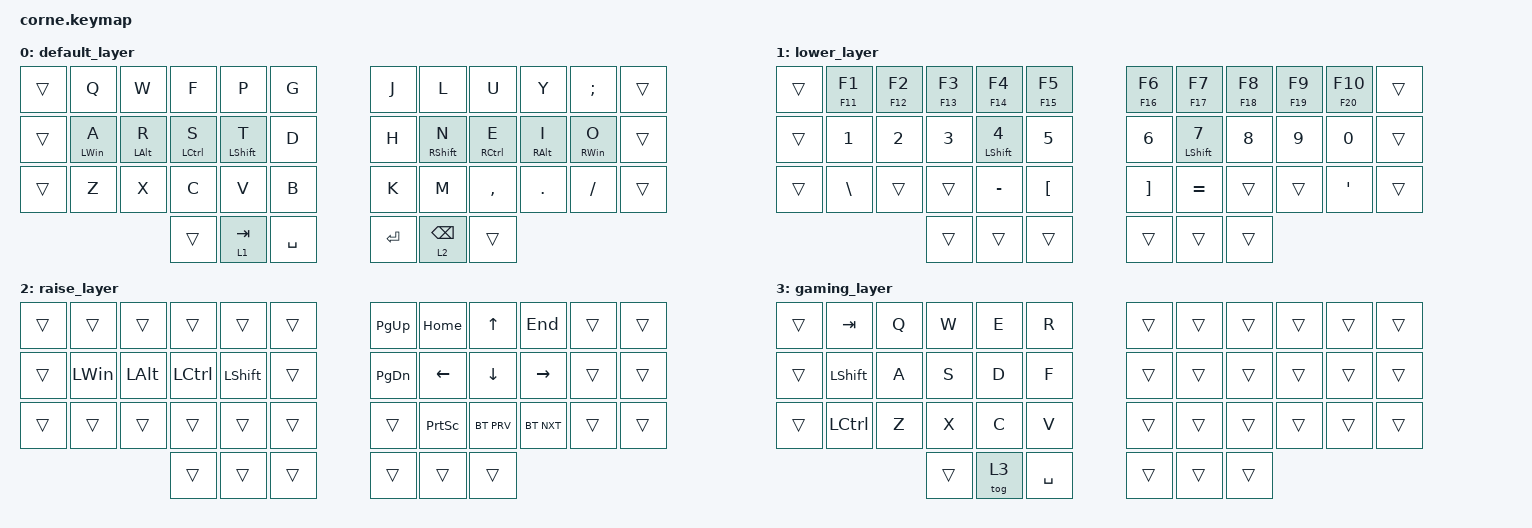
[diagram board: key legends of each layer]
/*
 * Copyright (c) 2020 The ZMK Contributors
 *
 * SPDX-License-Identifier: MIT
 */

#include <behaviors.dtsi>
#include <dt-bindings/zmk/keys.h>
#include <dt-bindings/zmk/bt.h>

#define DEFAULT 0
#define LOWER   1
#define RAISE   2
#define GAMING  3

/ {

        behaviors {
                hml: home_row_mod_left {
                        compatible = "zmk,behavior-hold-tap";
                        #binding-cells = <2>;
                        flavor = "balanced";
                        require-prior-idle-ms = <150>;
                        tapping-term-ms = <250>;
                        quick-tap-ms = <175>;
                        bindings = <&kp>, <&kp>;
                        hold-trigger-key-positions = <6 7 8 9 10 11 18 19 20 21 22 23 30 31 32 33 34 35 36 37 38 39 40 41>; // List of keys on the right side of the keyboard + all thumb keys
                        hold-trigger-on-release;
                };
                hmr: home_row_mod_right {
                        compatible = "zmk,behavior-hold-tap";
                        #binding-cells = <2>;
                        flavor = "balanced";
                        require-prior-idle-ms = <150>;
                        tapping-term-ms = <250>;
                        quick-tap-ms = <175>;
                        bindings = <&kp>, <&kp>;
                        hold-trigger-key-positions = <0 1 2 3 4 5 12 13 14 15 16 17 24 25 26 27 28 29 36 37 38 39 40 41>; // List of keys on the left side of the keyboard + all thumb keys
                        hold-trigger-on-release;
                };
        };

        combos {
                #include "combos.dtsi"
        };

        keymap {
                compatible = "zmk,keymap";

                default_layer {
                        bindings = <
// ╭──────┬───────────┬───────────┬────────────┬────────────┬─────────╮   ╭───────┬────────────┬────────────┬───────────┬────────────┬──────╮
// |      |     Q     |     W     |     F      |     P      |    G    |   |   J   |     L      |     U      |     Y     |     ;      |      |
    &trans    &kp Q       &kp W       &kp F        &kp P       &kp G        &kp J     &kp L        &kp U        &kp Y      &kp SEMI   &trans 
// ├──────┼───────────┼───────────┼────────────┼────────────┤─────────┤   ├───────┼────────────┼────────────┼───────────┼────────────┤──────┤
// |      |     A     |     R     |     S      |     T      |    D    |   |   H   |     N      |     E      |     I     |     O      |      |
    &trans &hml LWIN A &hml LALT R &hml LCTRL S &hml LSHFT T   &kp D        &kp H  &hmr RSHFT N &hmr RCTRL E &hmr RALT I &hmr RWIN O  &trans
// ├──────┼───────────┼───────────┼────────────┼────────────┤─────────┤   ├───────┼────────────┼────────────┼───────────┼────────────┤──────┤
// |      |     Z     |     X     |     C      |     V      |    B    |   |   K   |     M      |     ,      |     .     |     /      |      |
    &trans    &kp Z       &kp X       &kp C        &kp V       &kp B        &kp K     &kp M      &kp COMMA     &kp DOT     &kp FSLH   &trans
// ╰──────┴───────────┴───────────┼────────────┼────────────┤─────────┤   ├───────┼────────────┼────────────┼───────────┴────────────┴──────╯
//                                |            |    TAB     |   SPC   |   |  ENT  |    BSPC    |            |
                                      &trans     &lt 1 TAB   &kp SPACE     &kp RET  &lt 2 BSPC     &trans
//                                ╰────────────┴────────────┴─────────╯   ╰───────┴────────────┴────────────╯
                        >;
                };
                lower_layer {
                        bindings = <
// ╭──────┬──────────┬──────────┬──────────┬─────────────────┬──────────╮   ╭──────────┬──────────────┬──────────┬──────────┬───────────┬──────╮
// |      |    F1    |    F2    |    F3    |       F4        |    F5    |   |    F6    |      F7      |    F8    |    F9    |    F10    |      |
    &trans &mt F11 F1 &mt F12 F2 &mt F13 F3    &mt F14 F4     &mt F15 F5     &mt F16 F6   &mt F17 F7   &mt F18 F8 &mt F19 F9 &mt F20 F10 &trans
// ├──────┼──────────┼──────────┼──────────┼─────────────────┤──────────┤   ├──────────┼──────────────┼──────────┼──────────┼───────────┤──────┤
// |      |    1!    |    2@    |    3#    |       4$        |    5%    |   |    6^    |      7&      |    8*    |    9(    |     0)    |      |
    &trans   &kp N1     &kp N2     &kp N3    &hml LSHIFT N4     &kp N5         &kp N6   &hml LSHIFT N7   &kp N8     &kp N9     &kp N0    &trans
// ├──────┼──────────┼──────────┼──────────┼─────────────────┤──────────┤   ├──────────┼──────────────┼──────────┼──────────┼───────────┤──────┤
// |      |    \|    |          |          |       -_        |    [{    |   |    }]    |      =+      |          |          |     '     |      |
    &trans  &kp BSLH    &trans     &trans       &kp MINUS      &kp LBKT       &kp RBKT    &kp EQUAL      &trans     &trans     &kp SQT   &trans
// ╰──────┴──────────┴──────────┼──────────┼─────────────────┤──────────┤   ├──────────┼──────────────┼──────────┼──────────┴───────────┴──────╯
//                              |          |                 |          |   |          |              |          |
                                   &trans        &trans         &trans         &trans       &trans       &trans
//                              ╰──────────┴─────────────────┴──────────╯   ╰──────────┴──────────────┴──────────╯
                        >;
                };

                raise_layer {
                        bindings = <
// ╭──────┬────────┬────────┬─────────┬─────────┬────────╮   ╭─────────┬─────────┬──────────┬──────────┬──────┬──────╮
// |      |        |        |         |         |        |   |  PG UP  |  Home   |    UP    |   END    |      |      |
    &trans  &trans   &trans   &trans    &trans    &trans      &kp PG_UP &kp HOME    &kp UP    &kp END   &trans  &trans
// ├──────┼────────┼────────┼─────────┼─────────┤────────┤   ├─────────┼─────────┼──────────┼──────────┼──────┤──────┤
// |      |        |        |         |         |        |   |  PG DN  |   LFT   |   DWN    |    RGT   |      |      |
    &trans &kp LWIN &kp LALT &kp LCTRL &kp LSHFT  &trans      &kp PG_DN  &kp LEFT  &kp DOWN  &kp RIGHT  &trans &trans
// ├──────┼────────┼────────┼─────────┼─────────┤────────┤   ├─────────┼─────────┼──────────┼──────────┼──────┤──────┤
// |      |        |        |         |         |        |   |         |  PSCRN  |  BTPRV   |  BTNXT   |      |      |
    &trans  &trans   &trans   &trans    &trans    &trans       &trans   &kp PSCRN &bt BT_PRV &bt BT_NXT &trans  &trans
// ╰──────┴────────┴────────┼─────────┼─────────┤────────┤   ├─────────┼─────────┼──────────┼──────────┴──────┴──────╯
//                          |         |         |        |   |         |         |          |
                              &trans    &trans    &trans       &trans    &trans     &trans
//                          ╰─────────┴─────────┴────────╯   ╰─────────┴─────────┴──────────╯
                        >;
                };

                gaming_layer {
                        bindings = <
// ╭──────┬─────────┬─────────┬─────────┬─────────┬─────────╮   ╭──────┬──────┬──────┬──────┬──────┬──────╮
// |      |   TAB   |    Q    |    W    |    E    |    R    |   |      |      |      |      |      |      |
    &trans  &kp TAB    &kp Q     &kp W     &kp E     &kp R       &trans &trans &trans &trans &trans &trans
// ├──────┼─────────┼─────────┼─────────┼─────────┤─────────┤   ├──────┼──────┼──────┼──────┼──────┤──────┤
// |      |  SHIFT  |    A    |    S    |    D    |    F    |   |      |      |      |      |      |      |
    &trans &kp LSHFT   &kp A     &kp S     &kp D     &kp F       &trans &trans &trans &trans &trans &trans
// ├──────┼─────────┼─────────┼─────────┼─────────┤─────────┤   ├──────┼──────┼──────┼──────┼──────┤──────┤
// |      |  CTRL   |    Z    |    X    |    C    |    V    |   |      |      |      |      |      |      |
    &trans &kp LCTRL   &kp Z     &kp X     &kp C     &kp V       &trans &trans &trans &trans &trans &trans
// ╰──────┴─────────┴─────────┼─────────┼─────────┤─────────┤   ├──────┼──────┼──────┼──────┴──────┴──────╯
//                            |         |         |   SPC   |   |      |      |      |
                                &trans    &tog 3   &kp SPACE     &trans &trans &trans
//                            ╰─────────┴─────────┴─────────╯   ╰──────┴──────┴──────╯
                        >;
                };
        };
};
